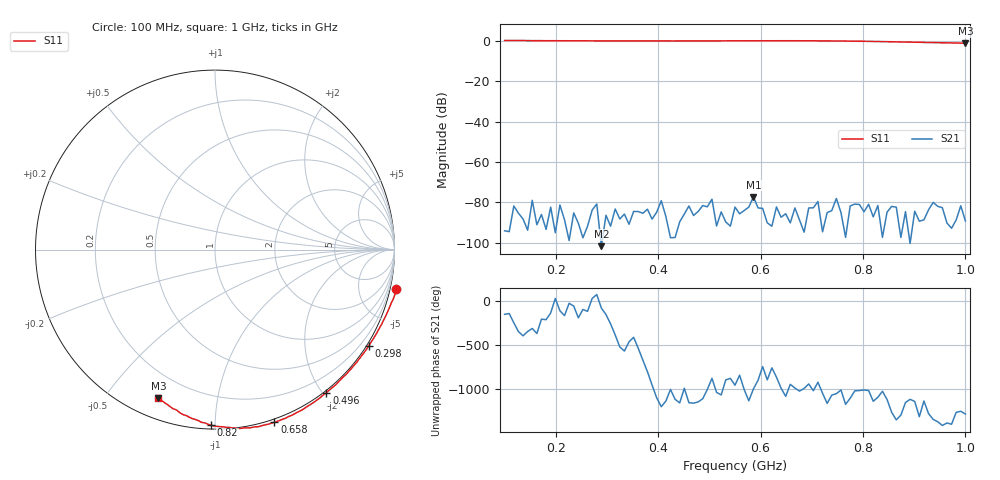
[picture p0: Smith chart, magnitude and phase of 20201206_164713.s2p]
# HZ S RI R 50
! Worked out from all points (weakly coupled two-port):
!   101 points, 100 MHz to 1 GHz, reference 50 ohm
!   highest |S21| = -77.26 dB at 586 MHz (marker M1); lowest = -101.7 dB at 289 MHz (marker M2)
!   lowest |S11| = -1.1 dB at 1 GHz (marker M3), VSWR 16.42, Z = 4.48 - j34.3 ohm
!   |S11| at or under -10 dB: nowhere
!   S12 and S22 are empty: the file has one direction only
!   S11 on the Smith chart (normalised r, x): 100 MHz: -1.35, -9.10; 298 MHz: -0.06, -3.48; 496 MHz: -0.03, -2.05; 658 MHz: -0.03, -1.40; 820 MHz: 0.02, -0.98; 1 GHz: 0.09, -0.69
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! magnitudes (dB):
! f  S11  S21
! 100 MHz  0.3  -94.1
! 154 MHz  0.2  -79.0
! 163 MHz  0.2  -91.1
! 253 MHz  0.1  -97.5
! 289 MHz  0.1  -101.7
! 298 MHz  0.1  -86.4
! 406 MHz  0.1  -79.2
! 496 MHz  0.1  -82.2
! 505 MHz  0.1  -78.4
! 514 MHz  0.1  -91.7
! 550 MHz  0.1  -82.3
! 577 MHz  0.1  -82.3
! 586 MHz  0.1  -77.3
! 595 MHz  0.1  -82.7
! 658 MHz  0.2  -90.2
! 703 MHz  0.1  -82.7
! 739 MHz  0.1  -84.1
! 748 MHz  0.1  -78.0
! 757 MHz  0.0  -85.0
! 820 MHz  -0.2  -87.2
! 856 MHz  -0.4  -82.0
! 1 GHz  -1.1  -89.2
